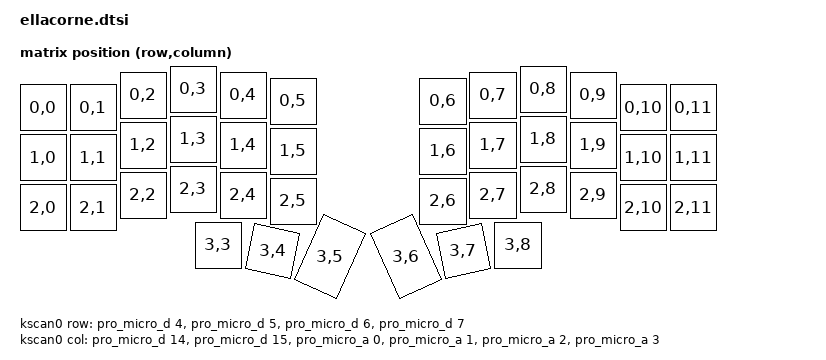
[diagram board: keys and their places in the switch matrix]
/*
 * Copyright (c) 2020 Pete Johanson
 *
 * SPDX-License-Identifier: MIT
 */

#include <dt-bindings/zmk/matrix_transform.h>

#include <layouts/foostan/corne/6column.dtsi>

&foostan_corne_6col_layout {
    transform = <&default_transform>;
};

/ {
    chosen {
        zmk,kscan = &kscan0;
        zmk,physical-layout = &physical_layout0; 
    };

    mock_kscan: mock_kscan_0 {
        compatible = "zmk,kscan-mock";
        columns = <0>;
        rows = <0>;
        events = <0>;
    };

    default_transform: keymap_transform_0 {
        compatible = "zmk,matrix-transform";
        columns = <12>;
        rows = <4>;
// | SW1  | SW2  | SW3  | SW4  | SW5  | SW6  |   | SW6  | SW5  | SW4  | SW3  | SW2  | SW1  |
// | SW7  | SW8  | SW9  | SW10 | SW11 | SW12 |   | SW12 | SW11 | SW10 | SW9  | SW8  | SW7  |
// | SW13 | SW14 | SW15 | SW16 | SW17 | SW18 |   | SW18 | SW17 | SW16 | SW15 | SW14 | SW13 |
//                      | SW19 | SW20 | SW21 |   | SW21 | SW20 | SW19 |
        map = <
RC(0,0) RC(0,1) RC(0,2) RC(0,3) RC(0,4) RC(0,5)  RC(0,6) RC(0,7) RC(0,8) RC(0,9) RC(0,10) RC(0,11)
RC(1,0) RC(1,1) RC(1,2) RC(1,3) RC(1,4) RC(1,5)  RC(1,6) RC(1,7) RC(1,8) RC(1,9) RC(1,10) RC(1,11)
RC(2,0) RC(2,1) RC(2,2) RC(2,3) RC(2,4) RC(2,5)  RC(2,6) RC(2,7) RC(2,8) RC(2,9) RC(2,10) RC(2,11)
                        RC(3,3) RC(3,4) RC(3,5)  RC(3,6) RC(3,7) RC(3,8)
        >;
    };

    physical_layout0: physical_layout_0 {
        compatible = "zmk,physical-layout";
        display-name = "Default Layout";
        transform = <&default_transform>;
        kscan = <&kscan0>;
        keys  //                     w   h    x    y     rot    rx    ry
            = <&key_physical_attrs 100 100    0   37       0     0     0>
            , <&key_physical_attrs 100 100  100   37       0     0     0>
            , <&key_physical_attrs 100 100  200   12       0     0     0>
            , <&key_physical_attrs 100 100  300    0       0     0     0>
            , <&key_physical_attrs 100 100  400   12       0     0     0>
            , <&key_physical_attrs 100 100  500   24       0     0     0>
            , <&key_physical_attrs 100 100  800   24       0     0     0>
            , <&key_physical_attrs 100 100  900   12       0     0     0>
            , <&key_physical_attrs 100 100 1000    0       0     0     0>
            , <&key_physical_attrs 100 100 1100   12       0     0     0>
            , <&key_physical_attrs 100 100 1200   37       0     0     0>
            , <&key_physical_attrs 100 100 1300   37       0     0     0>
            , <&key_physical_attrs 100 100    0  137       0     0     0>
            , <&key_physical_attrs 100 100  100  137       0     0     0>
            , <&key_physical_attrs 100 100  200  112       0     0     0>
            , <&key_physical_attrs 100 100  300  100       0     0     0>
            , <&key_physical_attrs 100 100  400  112       0     0     0>
            , <&key_physical_attrs 100 100  500  124       0     0     0>
            , <&key_physical_attrs 100 100  800  124       0     0     0>
            , <&key_physical_attrs 100 100  900  112       0     0     0>
            , <&key_physical_attrs 100 100 1000  100       0     0     0>
            , <&key_physical_attrs 100 100 1100  112       0     0     0>
            , <&key_physical_attrs 100 100 1200  137       0     0     0>
            , <&key_physical_attrs 100 100 1300  137       0     0     0>
            , <&key_physical_attrs 100 100    0  237       0     0     0>
            , <&key_physical_attrs 100 100  100  237       0     0     0>
            , <&key_physical_attrs 100 100  200  212       0     0     0>
            , <&key_physical_attrs 100 100  300  200       0     0     0>
            , <&key_physical_attrs 100 100  400  212       0     0     0>
            , <&key_physical_attrs 100 100  500  224       0     0     0>
            , <&key_physical_attrs 100 100  800  224       0     0     0>
            , <&key_physical_attrs 100 100  900  212       0     0     0>
            , <&key_physical_attrs 100 100 1000  200       0     0     0>
            , <&key_physical_attrs 100 100 1100  212       0     0     0>
            , <&key_physical_attrs 100 100 1200  237       0     0     0>
            , <&key_physical_attrs 100 100 1300  237       0     0     0>
            , <&key_physical_attrs 100 100  350  312       0     0     0>
            , <&key_physical_attrs 100 100  450  312    1200   450   412>
            , <&key_physical_attrs 100 150  548  283    2400   548   433>
            , <&key_physical_attrs 100 150  752  283  (-2400)  852   433>
            , <&key_physical_attrs 100 100  850  312  (-1200)  950   412>
            , <&key_physical_attrs 100 100  950  312       0     0     0>
        ;
    };

     kscan0: kscan {
		compatible = "zmk,kscan-gpio-matrix";
		label = "KSCAN";

		diode-direction = "col2row";
		row-gpios
			= <&pro_micro_d 4 (GPIO_ACTIVE_HIGH | GPIO_PULL_DOWN)>
			, <&pro_micro_d 5 (GPIO_ACTIVE_HIGH | GPIO_PULL_DOWN)>
			, <&pro_micro_d 6 (GPIO_ACTIVE_HIGH | GPIO_PULL_DOWN)>
			, <&pro_micro_d 7 (GPIO_ACTIVE_HIGH | GPIO_PULL_DOWN)>
			;
		
		col-gpios
			= <&pro_micro_d 14 GPIO_ACTIVE_HIGH>
			, <&pro_micro_d 15 GPIO_ACTIVE_HIGH>
			, <&pro_micro_a  0 GPIO_ACTIVE_HIGH>
			, <&pro_micro_a  1 GPIO_ACTIVE_HIGH>
			, <&pro_micro_a  2 GPIO_ACTIVE_HIGH>
			, <&pro_micro_a  3 GPIO_ACTIVE_HIGH>
			;
	};
};

&pro_micro_i2c {
    status = "okay";

    oled: ssd1306@3c {
        compatible = "solomon,ssd1306fb";
        reg = <0x3c>;
        width = <128>;
        height = <32>;
        segment-offset = <0>;
        page-offset = <0>;
        display-offset = <0>;
        multiplex-ratio = <31>;
        segment-remap;
        com-invdir;
        com-sequential;
        inversion-on;
        prechargep = <0x22>;
    };
};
